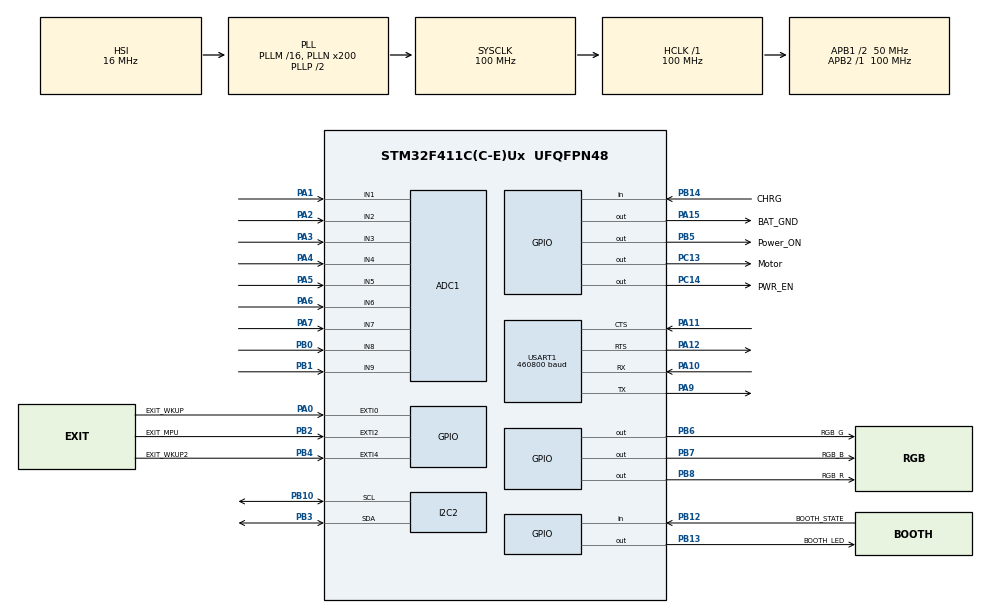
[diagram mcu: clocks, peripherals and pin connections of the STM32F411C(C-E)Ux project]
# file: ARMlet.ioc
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ADC1.Channel-0\#ChannelRegularConversion=ADC_CHANNEL_1
ADC1.Channel-10\#ChannelRegularConversion=ADC_CHANNEL_3
ADC1.Channel-11\#ChannelRegularConversion=ADC_CHANNEL_4
ADC1.Channel-12\#ChannelRegularConversion=ADC_CHANNEL_5
ADC1.Channel-13\#ChannelRegularConversion=ADC_CHANNEL_6
ADC1.Channel-14\#ChannelRegularConversion=ADC_CHANNEL_7
ADC1.Channel-15\#ChannelRegularConversion=ADC_CHANNEL_8
ADC1.Channel-16\#ChannelRegularConversion=ADC_CHANNEL_9
ADC1.Channel-9\#ChannelRegularConversion=ADC_CHANNEL_2
ADC1.ClockPrescaler=ADC_CLOCK_SYNC_PCLK_DIV8
ADC1.ContinuousConvMode=ENABLE
ADC1.DMAContinuousRequests=ENABLE
ADC1.DiscontinuousConvMode=DISABLE
ADC1.EOCSelection=ADC_EOC_SINGLE_CONV
ADC1.InjNumberOfConversion=0
ADC1.NbrOfConversion=9
ADC1.NbrOfConversionFlag=1
ADC1.Rank-0\#ChannelRegularConversion=1
ADC1.Rank-10\#ChannelRegularConversion=3
ADC1.Rank-11\#ChannelRegularConversion=4
ADC1.Rank-12\#ChannelRegularConversion=5
ADC1.Rank-13\#ChannelRegularConversion=6
ADC1.Rank-14\#ChannelRegularConversion=7
ADC1.Rank-15\#ChannelRegularConversion=8
ADC1.Rank-16\#ChannelRegularConversion=9
ADC1.Rank-9\#ChannelRegularConversion=2
ADC1.SamplingTime-0\#ChannelRegularConversion=ADC_SAMPLETIME_144CYCLES
ADC1.SamplingTime-10\#ChannelRegularConversion=ADC_SAMPLETIME_144CYCLES
ADC1.SamplingTime-11\#ChannelRegularConversion=ADC_SAMPLETIME_144CYCLES
ADC1.SamplingTime-12\#ChannelRegularConversion=ADC_SAMPLETIME_144CYCLES
ADC1.SamplingTime-13\#ChannelRegularConversion=ADC_SAMPLETIME_144CYCLES
ADC1.SamplingTime-14\#ChannelRegularConversion=ADC_SAMPLETIME_144CYCLES
ADC1.SamplingTime-15\#ChannelRegularConversion=ADC_SAMPLETIME_144CYCLES
ADC1.SamplingTime-16\#ChannelRegularConversion=ADC_SAMPLETIME_144CYCLES
ADC1.SamplingTime-9\#ChannelRegularConversion=ADC_SAMPLETIME_144CYCLES
ADC1.ScanConvMode=ENABLE
ADC1.master=1
Dma.ADC1.0.Direction=DMA_PERIPH_TO_MEMORY
Dma.ADC1.0.FIFOMode=DMA_FIFOMODE_DISABLE
Dma.ADC1.0.Instance=DMA2_Stream0
Dma.ADC1.0.MemDataAlignment=DMA_MDATAALIGN_WORD
Dma.ADC1.0.MemInc=DMA_MINC_ENABLE
Dma.ADC1.0.Mode=DMA_CIRCULAR
Dma.ADC1.0.PeriphDataAlignment=DMA_PDATAALIGN_WORD
Dma.ADC1.0.PeriphInc=DMA_PINC_DISABLE
Dma.ADC1.0.Priority=DMA_PRIORITY_MEDIUM
Dma.Request0=ADC1
Dma.Request1=USART1_TX
Dma.USART1_TX.1.Direction=DMA_MEMORY_TO_PERIPH
Dma.USART1_TX.1.FIFOMode=DMA_FIFOMODE_DISABLE
Dma.USART1_TX.1.Instance=DMA2_Stream7
Dma.USART1_TX.1.MemDataAlignment=DMA_MDATAALIGN_BYTE
Dma.USART1_TX.1.MemInc=DMA_MINC_ENABLE
Dma.USART1_TX.1.Mode=DMA_NORMAL
Dma.USART1_TX.1.PeriphDataAlignment=DMA_PDATAALIGN_BYTE
Dma.USART1_TX.1.PeriphInc=DMA_PINC_DISABLE
Dma.USART1_TX.1.Priority=DMA_PRIORITY_MEDIUM
Mcu.Family=STM32F4
Mcu.Name=STM32F411C(C-E)Ux
Mcu.Package=UFQFPN48
NVIC.DMA2_Stream0_IRQn=true\:0\:0\:false\:false\:true\:false\:true
NVIC.DMA2_Stream7_IRQn=true\:0\:0\:false\:false\:true\:false\:true
NVIC.EXTI0_IRQn=true\:1\:0\:true\:false\:true\:true\:true
NVIC.EXTI2_IRQn=true\:2\:0\:true\:false\:true\:true\:true
NVIC.EXTI4_IRQn=true\:1\:0\:true\:false\:true\:true\:true
NVIC.PriorityGroup=NVIC_PRIORITYGROUP_4
NVIC.TIM1_BRK_TIM9_IRQn=true\:5\:0\:true\:false\:true\:true\:true
NVIC.TIM1_TRG_COM_TIM11_IRQn=true\:5\:0\:true\:false\:true\:true\:true
NVIC.TIM1_UP_TIM10_IRQn=true\:1\:0\:true\:false\:true\:true\:true
NVIC.TIM3_IRQn=true\:5\:0\:true\:false\:true\:true\:true
NVIC.TIM4_IRQn=true\:5\:0\:true\:false\:true\:true\:true
NVIC.TIM5_IRQn=true\:2\:0\:true\:false\:true\:true\:true
NVIC.USART1_IRQn=true\:0\:0\:true\:false\:true\:true\:true
PA0-WKUP.GPIO_Label=EXIT_WKUP
PA0-WKUP.GPIO_ModeDefaultEXTI=GPIO_MODE_IT_RISING
PA0-WKUP.Signal=GPXTI0
PA1.Signal=ADCx_IN1
PA10.Mode=Asynchronous
PA10.Signal=USART1_RX
PA11.Mode=CTS_RTS
PA11.Signal=USART1_CTS
PA12.Mode=CTS_RTS
PA12.Signal=USART1_RTS
PA13.Mode=Serial_Wire
PA13.Signal=SYS_JTMS-SWDIO
PA14.Mode=Serial_Wire
PA14.Signal=SYS_JTCK-SWCLK
PA15.GPIO_Label=BAT_GND
PA15.GPIO_PuPd=GPIO_NOPULL
PA15.Signal=GPIO_Output
PA2.Signal=ADCx_IN2
PA3.Signal=ADCx_IN3
PA4.Signal=ADCx_IN4
PA5.Signal=ADCx_IN5
PA6.Signal=ADCx_IN6
PA7.Signal=ADCx_IN7
PA9.Mode=Asynchronous
PA9.Signal=USART1_TX
PB0.Signal=ADCx_IN8
PB1.Signal=ADCx_IN9
PB10.Mode=I2C
PB10.Signal=I2C2_SCL
PB12.GPIO_Label=BOOTH_STATE
PB12.GPIO_PuPd=GPIO_PULLDOWN
PB12.Signal=GPIO_Input
PB13.GPIO_Label=BOOTH_LED
PB13.GPIO_PuPd=GPIO_PULLDOWN
PB13.PinState=GPIO_PIN_SET
PB13.Signal=GPIO_Output
PB14.GPIO_Label=CHRG
PB14.GPIO_PuPd=GPIO_NOPULL
PB14.Signal=GPIO_Input
PB2.GPIO_Label=EXIT_MPU
PB2.GPIO_ModeDefaultEXTI=GPIO_MODE_IT_FALLING
PB2.Signal=GPXTI2
PB3.Mode=I2C
PB3.Signal=I2C2_SDA
PB4.GPIO_Label=EXIT_WKUP2
PB4.GPIO_ModeDefaultEXTI=GPIO_MODE_IT_FALLING
PB4.Signal=GPXTI4
PB5.GPIO_Label=Power_ON
PB5.GPIO_PuPd=GPIO_PULLDOWN
PB5.PinState=GPIO_PIN_SET
PB5.Signal=GPIO_Output
PB6.GPIO_Label=RGB_G
PB6.GPIO_PuPd=GPIO_PULLDOWN
PB6.PinState=GPIO_PIN_SET
PB6.Signal=GPIO_Output
PB7.GPIO_Label=RGB_B
PB7.GPIO_PuPd=GPIO_PULLDOWN
PB7.PinState=GPIO_PIN_SET
PB7.Signal=GPIO_Output
PB8.GPIO_Label=RGB_R
PB8.GPIO_PuPd=GPIO_PULLDOWN
PB8.PinState=GPIO_PIN_SET
PB8.Signal=GPIO_Output
PC13-ANTI_TAMP.GPIO_Label=Motor
PC13-ANTI_TAMP.GPIO_PuPd=GPIO_PULLDOWN
PC13-ANTI_TAMP.Signal=GPIO_Output
PC14-OSC32_IN.GPIO_Label=PWR_EN
PC14-OSC32_IN.GPIO_PuPd=GPIO_PULLDOWN
PC14-OSC32_IN.PinState=GPIO_PIN_SET
PC14-OSC32_IN.Signal=GPIO_Output
ProjectManager.HeapSize=0x200
ProjectManager.StackSize=0x400
ProjectManager.TargetToolchain=MDK-ARM V5.32
RCC.48MHZClocksFreq_Value=50000000
RCC.AHBFreq_Value=100000000
RCC.APB1CLKDivider=RCC_HCLK_DIV2
RCC.APB1Freq_Value=50000000
RCC.APB1TimFreq_Value=100000000
RCC.APB2Freq_Value=100000000
RCC.APB2TimFreq_Value=100000000
RCC.CortexFreq_Value=100000000
RCC.HCLKFreq_Value=100000000
RCC.HSE_VALUE=25000000
RCC.HSI_VALUE=16000000
RCC.LSE_VALUE=32768
RCC.PLLN=200
RCC.SYSCLKFreq_VALUE=100000000
RCC.SYSCLKSource=RCC_SYSCLKSOURCE_PLLCLK
RCC.VCOOutputFreq_Value=200000000
SH.ADCx_IN1.0=ADC1_IN1,IN1
SH.ADCx_IN2.0=ADC1_IN2,IN2
SH.ADCx_IN3.0=ADC1_IN3,IN3
SH.ADCx_IN4.0=ADC1_IN4,IN4
SH.ADCx_IN5.0=ADC1_IN5,IN5
SH.ADCx_IN6.0=ADC1_IN6,IN6
SH.ADCx_IN7.0=ADC1_IN7,IN7
SH.ADCx_IN8.0=ADC1_IN8,IN8
SH.ADCx_IN9.0=ADC1_IN9,IN9
TIM10.Period=1999
TIM10.Prescaler=99
TIM11.Period=49999
TIM11.Prescaler=99
TIM3.Period=50000
TIM3.Prescaler=999
TIM4.Period=49999
TIM4.Prescaler=99
TIM5.Period=1000
TIM5.Prescaler=99
TIM9.Period=1000
TIM9.Prescaler=999
USART1.BaudRate=460800
USART1.VirtualMode=VM_ASYNC
VP_TIM10_VS_ClockSourceINT.Mode=Enable_Timer
VP_TIM11_VS_ClockSourceINT.Mode=Enable_Timer
VP_TIM3_VS_ClockSourceINT.Mode=Internal
VP_TIM4_VS_ClockSourceINT.Mode=Internal
VP_TIM5_VS_ClockSourceINT.Mode=Internal
VP_TIM9_VS_ClockSourceINT.Mode=Internal
board=custom

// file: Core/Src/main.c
/* USER CODE BEGIN Header */
/**
  ******************************************************************************
  * @file           : main.c
  * @brief          : Main program body
  ******************************************************************************
  * @attention
  *
  * <h2><center>&copy; Copyright (c) 2021 STMicroelectronics.
  * All rights reserved.</center></h2>
  *
  * This software component is licensed by ST under BSD 3-Clause license,
  * the "License"; You may not use this file except in compliance with the
  * License. You may obtain a copy of the License at:
  *                        opensource.org/licenses/BSD-3-Clause
  *
  ******************************************************************************
  */
/*============================肌电臂环简易版程序 V0.0.1================================
 * 念通智能
 * 简述外设功能
 * 1.htim10:	周期2ms			中断优先级：1		作用：采集EMG
 * 2.htim11:	周期50ms		中断优先级：5		作用：更新RGB灯色状态
 * 3.htim3:		周期500ms		中断优先级：5		作用：循环控制BOOTH_LED
 * 4.htim9:		周期10ms		中断优先级：5		作用：判断当前各种工作状态
 *
 *
 *
 * EXIT_GPIO2:	周期10ms		中断优先级：2		作用：IMU中断引脚
 *
 *
 *
 *
 *
 * */
/* USER CODE END Header */
#include "main.h"
#include "adc.h"
#include "dma.h"
#include "i2c.h"
#include "tim.h"
#include "usart.h"
#include "gpio.h"

/* USER CODE BEGIN Includes */
#include <stdio.h>
#include <stdbool.h>
/* USER CODE END Includes */

/* USER CODE BEGIN PV */
uint32_t AD_Value[20];	/* 8->EMG;1->battery*/
//==============================System work PV==================================
uint8_t work_state;				//工作状态变量	1：充电充满  2：正在充电	3：正常工作	  4：电量不足  5：电量微弱请及时充电
uint8_t Booth_state;			//蓝牙连接状态  0：未连接   1：连接状态
uint8_t Charge_state;			//充电状态		0：正在充   1：已经充满
uint8_t htim9_flag;				//定时器9旗标
uint8_t htim10_flag;			//定时器10旗标
uint8_t TimeFlag;				//EMG中断旗标
uint8_t IMUFlag;				//IMU中断旗标
uint8_t SystemFlag=0;			//完成初始化旗标
uint8_t	number;						//序号位

//================================IMU 数据测试函数====================================
short gyro[3], accel[3], sensors;
float Pitch,Roll,Yaw;
float q0,q1,q2,q3;
uint8_t OutPut_Buffer[11];

//===============串口1中断接受变量，4个字节用来判断华总发出的指令 ====================
uint8_t	uart_flag;
uint8_t RxBuffer[4];
uint8_t	IMU_state=0;				//是否开启IMU读取				0：关闭		1：开启
uint8_t	Motor_work_time;		//是否开启电机震动			0：关闭		else：开启*100ms的震动

uint8_t	IMU_Flag = 1;

/*用于调试串口*/
//uint8_t	Uart_460800code[16] = {0x41 ,0x54 ,0x2B ,0x42 ,0x41 ,0x55 ,0x44 ,0x3D ,0x34 ,0x36 ,0x30 ,0x38 ,0x30 ,0x30 ,0x0D ,0x0A};		//修改串口波特率460800
//uint8_t	conn_Master_3[25]={0x41 ,0x54 ,0x2B ,0x53 ,0x50 ,0x50 ,0x43 ,0x4F ,0x4E ,0x4E ,0x3D ,0x44 ,0x43 ,0x30 ,0x44 ,0x33 ,0x30 ,0x30 ,0x30 ,0x31 ,0x39 ,0x32 ,0x43 ,0x0D ,0x0A};
////AT+SPPCONN=DC0D3000192C, 3号臂环的自动重连
//uint8_t	conn_Master_11[25]={0x41 ,0x54 ,0x2B ,0x53 ,0x50 ,0x50 ,0x43 ,0x4F ,0x4E ,0x4E ,0x3D ,0x44 ,0x43 ,0x30 ,0x44 ,0x33 ,0x30 ,0x30 ,0x30 ,0x31 ,0x39 ,0x33 ,0x36 ,0x0D ,0x0A};
////AT+SPPCONN=DC0D30001936, 11号臂环的自动重连
//uint8_t	conn_Master_18[25]={0x41 ,0x54 ,0x2B ,0x53 ,0x50 ,0x50 ,0x43 ,0x4F ,0x4E ,0x4E ,0x3D ,0x44 ,0x43 ,0x30 ,0x44 ,0x33 ,0x30 ,0x30 ,0x30 ,0x31 ,0x39 ,0x33 ,0x31 ,0x0D ,0x0A};
//AT+SPPCONN=DC0D30001931, 18号臂环的自动重连
//uint8_t	conn_Master_9[25]={0x41 ,0x54 ,0x2B ,0x53 ,0x50 ,0x50 ,0x43 ,0x4F ,0x4E ,0x4E ,0x3D ,0x44 ,0x43 ,0x30 ,0x44 ,0x33 ,0x30 ,0x30 ,0x30 ,0x31 ,0x39 ,0x33 ,0x43 ,0x0D ,0x0A};
//AT+SPPCONN=DC0D3000193C，9号臂环的自动重连
//uint8_t	conn_Master_15[25]={0x41 ,0x54 ,0x2B ,0x53 ,0x50 ,0x50 ,0x43 ,0x4F ,0x4E ,0x4E ,0x3D ,0x44 ,0x43 ,0x30 ,0x44 ,0x33 ,0x30 ,0x30 ,0x30 ,0x31 ,0x39 ,0x33 ,0x32 ,0x0D ,0x0A };
//AT+SPPCONN=DC0D30001932，15号臂环的自动重连
//uint8_t	conn_Master_19[25]={0x41 ,0x54 ,0x2B ,0x53 ,0x50 ,0x50 ,0x43 ,0x4F ,0x4E ,0x4E ,0x3D ,0x44 ,0x43 ,0x30 ,0x44 ,0x33 ,0x30 ,0x30 ,0x30 ,0x31 ,0x39 ,0x32 ,0x44 ,0x0D ,0x0A };
//AT+SPPCONN=DC0D3000192D，15号臂环的自动重连
//uint8_t	conn_Master_14[25]={0x41 ,0x54 ,0x2B ,0x53 ,0x50 ,0x50 ,0x43 ,0x4F ,0x4E ,0x4E ,0x3D ,0x44 ,0x43 ,0x30 ,0x44 ,0x33 ,0x30 ,0x30 ,0x30 ,0x31 ,0x39 ,0x33 ,0x41 ,0x0D ,0x0A };
//AT+SPPCONN=DC0D3000193A，15号臂环的自动重连
//uint8_t	conn_Master_7[25]={0x41 ,0x54 ,0x2B ,0x53 ,0x50 ,0x50 ,0x43 ,0x4F ,0x4E ,0x4E ,0x3D ,0x44 ,0x43 ,0x30 ,0x44 ,0x33 ,0x30 ,0x30 ,0x30 ,0x31 ,0x39 ,0x33 ,0x37 ,0x0D ,0x0A };
//AT+SPPCONN=DC0D30001937，7号臂环的自动重连
//uint8_t	conn_Master_1[25]={0x41, 0x54, 0x2B, 0x53, 0x50, 0x50, 0x43, 0x4F, 0x4E, 0x4E, 0x3D, 0x44, 0x43, 0x30, 0x44, 0x33, 0x30, 0x30, 0x30, 0x31, 0x39, 0x33, 0x30, 0x0D, 0x0A};
//AT+SPPCONN=DC0D30001930，7号臂环的自动重连

/* USER CODE END PV */

void SystemClock_Config(void);
/* USER CODE BEGIN PFP */
bool	IsUART1_Send_Idle();
/* USER CODE END PFP */

int main(void)
{

  /* MCU Configuration--------------------------------------------------------*/

  /* Reset of all peripherals, Initializes the Flash interface and the Systick. */
  HAL_Init();

  /* Configure the system clock */
  SystemClock_Config();

  /* USER CODE BEGIN SysInit */
  WKUP_init();

  /* USER CODE END SysInit */

  /* Initialize all configured peripherals */
  MX_GPIO_Init();
  MX_DMA_Init();
  MX_ADC1_Init();
  MX_I2C2_Init();
  MX_TIM3_Init();
  MX_TIM9_Init();
  MX_TIM10_Init();
  MX_TIM11_Init();
  MX_USART1_UART_Init();
  MX_TIM4_Init();
  MX_TIM5_Init();

  /* Infinite loop */
  /* USER CODE BEGIN WHILE */

	HAL_ADC_Start_DMA(&hadc1,AD_Value,9);				//开启ADC转换

	Motor_Open();																//开电机
	Open_LED(0);																//开白色全灯
	HAL_Delay(300);															//稍作延时
	Motor_Close();															//关电机
	Li_battery = AD_Value[8];										//因为ADC采集Li_battery在主函数中执行，先提前采集一次数据
	HAL_Delay(50);															//稍作延时

	HAL_TIM_Base_Start_IT(&htim3);							//蓝牙闪烁htim 				200ms/T
	HAL_TIM_Base_Start_IT(&htim9);							//状态判断htim	  		90ms/T
	HAL_TIM_Base_Start_IT(&htim10);							//EMG采集htim	 				2ms/T
	HAL_TIM_Base_Start_IT(&htim11);							//LED灯状态更新htim  	50ms/T

  HAL_Delay(10);
	DMP_init();																	//IMU初始化
  HAL_Delay(10);

  SystemFlag = 1;
	HAL_UART_Receive_IT(&huart1,RxBuffer,sizeof(RxBuffer));		//串口1接收中断

//	HAL_UART_Transmit_DMA(&huart1, Uart_460800code, 16);
//	HAL_UART_Transmit_DMA(&huart1, conn_Master_3, 25);
//	HAL_Delay(1000);
//	HAL_UART_Transmit_DMA(&huart1, conn_Master_1, 25);
//	HAL_Delay(1000);

  while (1)
  {
		if(Motor_work_time!=0)
		{
			Motor_Open();
			HAL_Delay(Motor_work_time*100);
			Motor_Close();
			Motor_work_time = 0;
		}

    /* USER CODE END WHILE */

  }
}

void SystemClock_Config(void)
{
  RCC_OscInitTypeDef RCC_OscInitStruct = {0};
  RCC_ClkInitTypeDef RCC_ClkInitStruct = {0};

  /** Configure the main internal regulator output voltage
  */
  __HAL_RCC_PWR_CLK_ENABLE();
  __HAL_PWR_VOLTAGESCALING_CONFIG(PWR_REGULATOR_VOLTAGE_SCALE1);
  /** Initializes the RCC Oscillators according to the specified parameters
  * in the RCC_OscInitTypeDef structure.
  */
  RCC_OscInitStruct.OscillatorType = RCC_OSCILLATORTYPE_HSI;
  RCC_OscInitStruct.HSIState = RCC_HSI_ON;
  RCC_OscInitStruct.HSICalibrationValue = RCC_HSICALIBRATION_DEFAULT;
  RCC_OscInitStruct.PLL.PLLState = RCC_PLL_ON;
  RCC_OscInitStruct.PLL.PLLSource = RCC_PLLSOURCE_HSI;
  RCC_OscInitStruct.PLL.PLLM = 16;
  RCC_OscInitStruct.PLL.PLLN = 200;
  RCC_OscInitStruct.PLL.PLLP = RCC_PLLP_DIV2;
  RCC_OscInitStruct.PLL.PLLQ = 4;
  if (HAL_RCC_OscConfig(&RCC_OscInitStruct) != HAL_OK)
  {
    Error_Handler();
  }
  /** Initializes the CPU, AHB and APB buses clocks
  */
  RCC_ClkInitStruct.ClockType = RCC_CLOCKTYPE_HCLK|RCC_CLOCKTYPE_SYSCLK
                              |RCC_CLOCKTYPE_PCLK1|RCC_CLOCKTYPE_PCLK2;
  RCC_ClkInitStruct.SYSCLKSource = RCC_SYSCLKSOURCE_PLLCLK;
  RCC_ClkInitStruct.AHBCLKDivider = RCC_SYSCLK_DIV1;
  RCC_ClkInitStruct.APB1CLKDivider = RCC_HCLK_DIV2;
  RCC_ClkInitStruct.APB2CLKDivider = RCC_HCLK_DIV1;

  if (HAL_RCC_ClockConfig(&RCC_ClkInitStruct, FLASH_LATENCY_3) != HAL_OK)
  {
    Error_Handler();
  }
}

/* USER CODE BEGIN 4 */
void HAL_TIM_PeriodElapsedCallback(TIM_HandleTypeDef *htim)
{
	if(htim == &htim3)
	{//蓝牙指示灯工作定时器 500ms/T
		htim3_work_serve();
	}
	if(htim == &htim9)
	{//判断工作状态 10ms/T
		htim9_work_serve();
	}
	if(htim == &htim10)
	{//采集EMG 2ms  同时因为这个最高优先级的中断,也担负IMU的串口数据发送
		number++;
		if(IMUFlag == 0)				//如果没有IMU数据，直接发送EEG
		{
			get_ADCdata();
			while(IsUART1_Send_Idle() == true)
			HAL_UART_Transmit_DMA(&huart1, Emg_Data_Sent, 17);
		}
		else if(IMUFlag == 1)		//如果带有IMU数据，发送数组里面带上IMU数据
		{
			IMUFlag = 0;
			Get_ADCdata_With_IMU();
			while(IsUART1_Send_Idle() == true)
			HAL_UART_Transmit_DMA(&huart1, Emg_With_IMU_sent, 23);

		}
	}//end of tim10
	if(htim == &htim11)
	{//电池状态判断 500ms
		htim11_work_serve();
	}
}

/*****************中断接收命令，trigger功能，CommandRecevFlag*********************/
void HAL_UART_RxCpltCallback(UART_HandleTypeDef *huart)
{
	if(huart == &huart1)
	{
		//定长解析
		if((RxBuffer[0]==0xCC)&&(RxBuffer[1]==0xDD))
		{
			if(RxBuffer[2] == 0xFF)
			{}
			else if(RxBuffer[2] == 0xEE)
			{//将time传递给电机震动部分
				Motor_work_time = RxBuffer[3];
			}
		}
		HAL_UART_Receive_IT(&huart1,RxBuffer,sizeof(RxBuffer));		//串口1接收中断
	}
}

//串口空闲判断函数
bool	IsUART1_Send_Idle()
{
	if(HAL_UART_GetState(&huart1) != HAL_UART_STATE_BUSY_TX)
	{//首先确定发送不处于忙碌状态
		if(__HAL_UART_GET_FLAG(&huart1, UART_FLAG_TC) == SET)
		{//其次确定发送旗标位已经复位
			return true;
		}
	}
	return false;
}
/* USER CODE END 4 */

void Error_Handler(void)
{
  /* USER CODE BEGIN Error_Handler_Debug */
  /* User can add his own implementation to report the HAL error return state */
  __disable_irq();
  while (1)
  {//错误中断内红灯不停闪烁
	  for(uint8_t i=0;i<20;i++)
	  {
		  Close_LED(0);
		  Open_LED(3);
		  HAL_Delay(200);
		  Close_LED(3);
		  HAL_Delay(200);
	  }
	  PBout(5)=0;

  }
  /* USER CODE END Error_Handler_Debug */
}

/************************ (C) COPYRIGHT STMicroelectronics *****END OF FILE****/
